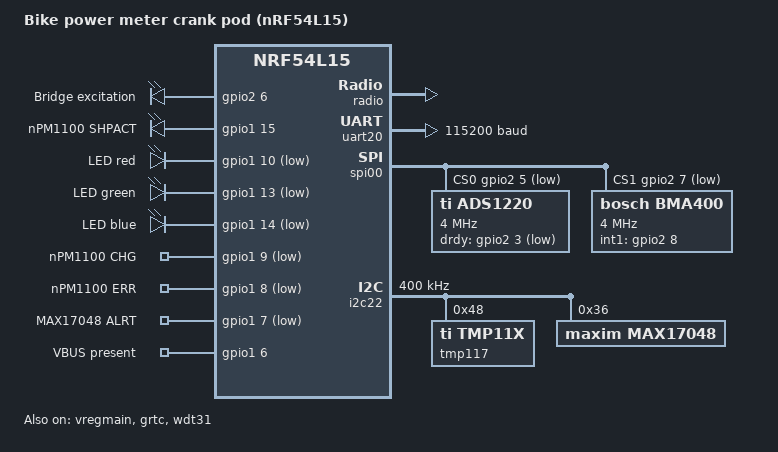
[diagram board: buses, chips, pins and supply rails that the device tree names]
/*
 * Bike power meter: the crank pod board, with the nRF54L15 on the
 * HOLYIOT-26001-A module.
 *
 * Every device the pod carries, on the pins it carries them on
 * (docs/02-hardware.md, Pinos do módulo); the pin map and the rules that
 * shape it are in pmboard-pinctrl.dtsi. The same aliases as the DK overlay,
 * so the services do not change between the two targets.
 *
 * This board replaced the nRF54LM20A one on 2026-09-28, and three things
 * follow from the SoC and not from taste
 * (hardware_powermeter/09-modulo-de-radio.md):
 *
 *   - there is NO USB on this part. `usbhs` does not exist in
 *     nrf54l_05_10_15.dtsi. The serial port of the commands and MCUboot's
 *     recovery go over uart20, out through the magnetic connector's two
 *     former D+/D- contacts, and a divider on VBUS into a GPIO replaces what
 *     the USB stack used to report - the nPM1100 has no pin that says the
 *     cable is in;
 *   - there is no gpio3 and no vregusb either, for the same reason;
 *   - the bootloader takes 60 KB, not the 96 the LM20A board needed for USB
 *     serial recovery and not the SoC default of 64 either. Over UART
 *     MCUboot measures 46.996 B, and 60 KB is the largest 4 KB-aligned size
 *     that FPROTECT can cover on this series (the partitions below say why).
 *
 * Nothing here has been built or run: no unit exists.
 */

/dts-v1/;

#include <nordic/nrf54l15_cpuapp.dtsi>
#include <vendor/nordic/nrf54l15_cpuapp_partition.dtsi>
#include "pmboard-pinctrl.dtsi"

/ {
	compatible = "pm,pmboard-nrf54l15-cpuapp";
	model = "Bike power meter crank pod (nRF54L15)";

	chosen {
		zephyr,code-partition = &slot0_partition;
		zephyr,sram = &cpuapp_sram;
		zephyr,flash-controller = &rram_controller;
		zephyr,flash = &cpuapp_rram;
		/*
		 * The console, the shell and mcumgr all live on uart20, which
		 * leaves the pod through the magnetic connector. On the old
		 * board this was two test pads and USB carried the commands;
		 * here there is no USB, so this one line is the whole wired
		 * path in and out of a potted pod - plus SWD, which is on the
		 * connector as well.
		 */
		zephyr,console = &uart20;
		zephyr,shell-uart = &uart20;
		zephyr,uart-mcumgr = &uart20;
	};

	aliases {
		bridge-adc = &ads1220;
		bridge-excitation = &exc_en;
		imu0 = &bma400;
		temp0 = &tmp117;
		fuel-gauge0 = &max17048;
		charger-status = &chg_n;
		charger-error = &err_n;
		ship-activate = &ship_act;
		vbus-sense = &vbus_sense;
		led-r = &led_r;
		led-g = &led_g;
		led-b = &led_b;
		watchdog0 = &wdt31;
	};

	/* outputs: the excitation switch, the ship-mode pin, the LED (active low) */
	pm_outputs {
		compatible = "gpio-leds";

		exc_en: exc_en {
			gpios = <&gpio2 6 GPIO_ACTIVE_HIGH>;
			label = "Bridge excitation";
		};

		ship_act: ship_act {
			gpios = <&gpio1 15 GPIO_ACTIVE_HIGH>;
			label = "nPM1100 SHPACT";
		};

		led_r: led_r {
			gpios = <&gpio1 10 GPIO_ACTIVE_LOW>;
			label = "LED red";
		};

		led_g: led_g {
			gpios = <&gpio1 13 GPIO_ACTIVE_LOW>;
			label = "LED green";
		};

		led_b: led_b {
			gpios = <&gpio1 14 GPIO_ACTIVE_LOW>;
			label = "LED blue";
		};
	};

	/* inputs: the charger pins are open drain, low when active */
	pm_inputs {
		compatible = "gpio-keys";

		chg_n: chg_n {
			gpios = <&gpio1 9 (GPIO_PULL_UP | GPIO_ACTIVE_LOW)>;
			label = "nPM1100 CHG";
		};

		err_n: err_n {
			gpios = <&gpio1 8 (GPIO_PULL_UP | GPIO_ACTIVE_LOW)>;
			label = "nPM1100 ERR";
		};

		gauge_alrt: gauge_alrt {
			gpios = <&gpio1 7 (GPIO_PULL_UP | GPIO_ACTIVE_LOW)>;
			label = "MAX17048 ALRT";
		};

		/*
		 * The cable. A 1 M / 470 k divider takes the connector's 5,0 V
		 * to 1,60, a solid high on a 3,0 V input, and leaks 3,4 uA only
		 * while the cable is in. No pull is set here: the divider's
		 * lower leg holds the pin down when the cable is out.
		 */
		vbus_sense: vbus_sense {
			gpios = <&gpio1 6 GPIO_ACTIVE_HIGH>;
			label = "VBUS present";
		};
	};
};

/*
 * Partitions. The SoC default gives MCUboot 64 KB, and on the nRF54L that
 * is 2 KB too much: FPROTECT covers at most 62 KB on this series, and
 * MCUboot asserts it (boot/zephyr/main.c, "Can not FPROTECT region that
 * big"). Turning FPROTECT off would let the default stand and would also
 * leave the bootloader writable by the application it boots, which is the
 * one thing it exists to prevent. So the bootloader takes 60 KB - the
 * largest 4 KB-aligned size under the limit - and the 4 KB it gives back
 * go to the storage partition. The two image slots keep 664 KB each.
 *
 * sysbuild/mcuboot.overlay carries the same three nodes for the bootloader
 * image, and the two must agree.
 */
/delete-node/ &boot_partition;
/delete-node/ &slot0_partition;
/delete-node/ &slot1_partition;
/delete-node/ &storage_partition;

&cpuapp_rram {
	partitions {
		boot_partition: partition@0 {
			label = "mcuboot";
			reg = <0x0 DT_SIZE_K(60)>;
		};

		slot0_partition: partition@f000 {
			label = "image-0";
			reg = <0xf000 DT_SIZE_K(664)>;
		};

		slot1_partition: partition@b5000 {
			label = "image-1";
			reg = <0xb5000 DT_SIZE_K(664)>;
		};

		storage_partition: partition@15b000 {
			label = "storage";
			reg = <0x15b000 DT_SIZE_K(40)>;
		};
	};
};

&cpuapp_sram {
	status = "okay";
};

&hfpll {
	clock-frequency = <DT_FREQ_M(128)>;
};

/* The module carries the two crystals; load capacitors are internal */
&lfxo {
	load-capacitors = "internal";
	load-capacitance-femtofarad = <17000>;
};

&hfxo {
	load-capacitors = "internal";
	load-capacitance-femtofarad = <15000>;
};

&vregmain {
	status = "okay";
	regulator-initial-mode = <NRF5X_REG_MODE_DCDC>;
};

&grtc {
	owned-channels = <0 1 2 3 4 5 6 7 8 9 10 11>;
	child-owned-channels = <3 4 7 8 9 10 11>;
	status = "okay";
};

&clock {
	status = "okay";
};

&radio {
	status = "okay";
};

&gpio0 {
	status = "okay";
};

&gpio1 {
	status = "okay";
};

&gpio2 {
	status = "okay";
};

&gpiote20 {
	status = "okay";
};

&gpiote30 {
	status = "okay";
};

/* Hardware watchdog behind the task watchdog of the services */
&wdt31 {
	status = "okay";
};

/* ---- Console and commands, out through the magnetic connector ---- */
&uart20 {
	status = "okay";
	current-speed = <115200>;
	pinctrl-0 = <&uart20_default>;
	pinctrl-1 = <&uart20_sleep>;
	pinctrl-names = "default", "sleep";
};

/*
 * ---- Bridge converter and accelerometer ----
 *
 * One bus, two chip selects: the ADS1220 on P2.05 with DRDY on P2.03, the
 * BMA400 on P2.07 with INT1 on P2.08. SPI mode 1 for the converter and
 * mode 0 for the accelerometer: the drivers set it per transfer.
 */
&spi00 {
	status = "okay";
	cs-gpios = <&gpio2 5 GPIO_ACTIVE_LOW>, <&gpio2 7 GPIO_ACTIVE_LOW>;
	pinctrl-0 = <&spi00_default>;
	pinctrl-1 = <&spi00_sleep>;
	pinctrl-names = "default", "sleep";

	/*
	 * ADS1220 on the bridge: AIN0-AIN1 differential, gain 128, 175 SPS in
	 * normal mode, the excitation on REFP0/REFN0 as reference (docs/06,
	 * Amostragem). SCLK at most 6,6 MHz (150 ns period): 4 MHz here.
	 */
	ads1220: ads1220@0 {
		compatible = "ti,ads1220";
		reg = <0>;
		spi-max-frequency = <4000000>;
		drdy-gpios = <&gpio2 3 GPIO_ACTIVE_LOW>;
		gain = <128>;
		data-rate = <175>;
		mux = <0>;
		vref = "refp0";
	};

	/* BMA400: 100 Hz, ±4 g (the centripetal term at 200 rpm is 2,2 g), INT1 */
	bma400: bma400@1 {
		compatible = "bosch,bma400";
		reg = <1>;
		spi-max-frequency = <4000000>;
		int1-gpios = <&gpio2 8 GPIO_ACTIVE_HIGH>;
		range = <4>;
		odr = <100>;
		osr = <0>;
	};
};

/* ---- Temperature of the bridge and the fuel gauge ---- */
&i2c22 {
	status = "okay";
	clock-frequency = <I2C_BITRATE_FAST>;
	pinctrl-0 = <&i2c22_default>;
	pinctrl-1 = <&i2c22_sleep>;
	pinctrl-names = "default", "sleep";

	/* TI TMP117, ADD0 to ground: 0x48; one conversion a second, 8 averaged */
	tmp117: tmp117@48 {
		compatible = "ti,tmp11x";
		reg = <0x48>;
		odr = <0x200>;
		oversampling = <0x20>;
	};

	/* Analog Devices MAX17048, fixed address 0x36 */
	max17048: max17048@36 {
		compatible = "maxim,max17048";
		reg = <0x36>;
	};
};
